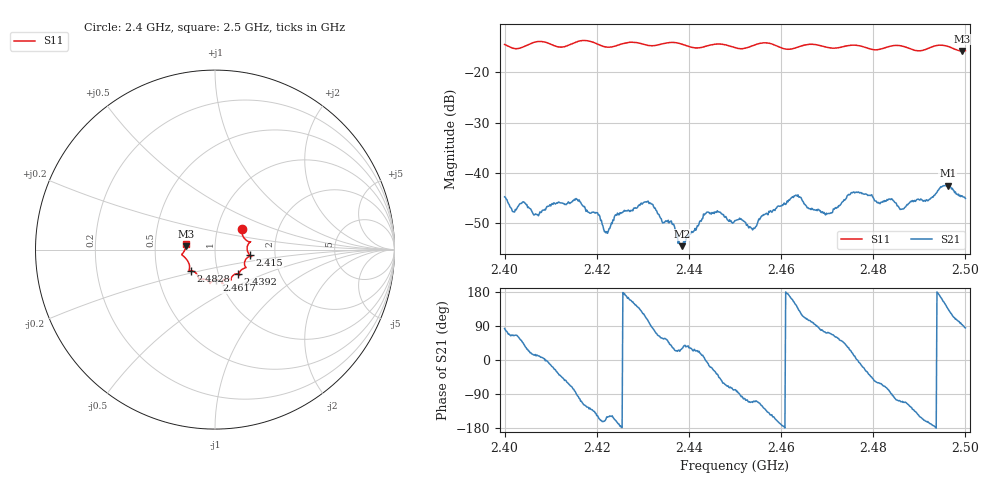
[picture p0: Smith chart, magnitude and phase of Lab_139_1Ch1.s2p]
# Hz S RI R 50
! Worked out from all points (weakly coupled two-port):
!   601 points, 2.4 GHz to 2.5 GHz, reference 50 ohm
!   highest |S21| = -42.51 dB at 2.4962 GHz (marker M1); lowest = -54.6 dB at 2.4385 GHz (marker M2)
!   lowest |S11| = -15.7 dB at 2.4993 GHz (marker M3), VSWR 1.39, Z = 36 + j1.47 ohm
!   |S11| at or under -10 dB: start of sweep to end of sweep
!   S12 and S22 are empty: the file has one direction only
!   S11 on the Smith chart (normalised r, x): 2.4 GHz: 1.31, +0.31; 2.415 GHz: 1.48, -0.10; 2.4392 GHz: 1.24, -0.35; 2.4617 GHz: 0.96, -0.34; 2.4828 GHz: 0.75, -0.18; 2.5 GHz: 0.72, +0.05
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2.4e9  0.1508 0.1154  0.00069 0.00575  0 0  0 0
2.406833e9  0.1973 0.0436  0.00379 0.000721  0 0  0 0
2.415e9  0.1938 -0.0317  0.00119 -0.00519  0 0  0 0
2.416667e9  0.2039 -0.0387  -0.00158 -0.00465  0 0  0 0
2.422e9  0.1699 -0.0565  -0.00231 -0.00104  0 0  0 0
2.430667e9  0.1534 -0.1086  -0.00191 0.0048  0 0  0 0
2.433333e9  0.1362 -0.1301  0.00167 0.00351  0 0  0 0
2.4385e9  0.1326 -0.1376  0.00161 0.000948  0 0  0 0
2.439167e9  0.1282 -0.1355  0.00159 0.00128  0 0  0 0
2.443667e9  0.0907 -0.158  0.00395 -0.000106  0 0  0 0
2.45e9  0.0712 -0.1615  0.000686 -0.00329  0 0  0 0
2.454167e9  0.0393 -0.1831  -0.000903 -0.00265  0 0  0 0
2.461667e9  0.00769 -0.1699  -0.00533 0.000817  0 0  0 0
2.466667e9  -0.0267 -0.189  -0.000809 0.00438  0 0  0 0
2.470667e9  -0.044 -0.1699  0.00137 0.00373  0 0  0 0
2.475833e9  -0.0876 -0.1653  0.00634 0.00122  0 0  0 0
2.482833e9  -0.1332 -0.1177  0.00156 -0.00503  0 0  0 0
2.483333e9  -0.1375 -0.1172  0.00106 -0.00539  0 0  0 0
2.486333e9  -0.144 -0.1127  -0.00144 -0.00414  0 0  0 0
2.496167e9  -0.1805 -0.0218  -0.0054 0.00519  0 0  0 0
2.499333e9  -0.1624 0.0199  -0.000323 0.00589  0 0  0 0
2.5e9  -0.1617 0.032  0.000523 0.00555  0 0  0 0
